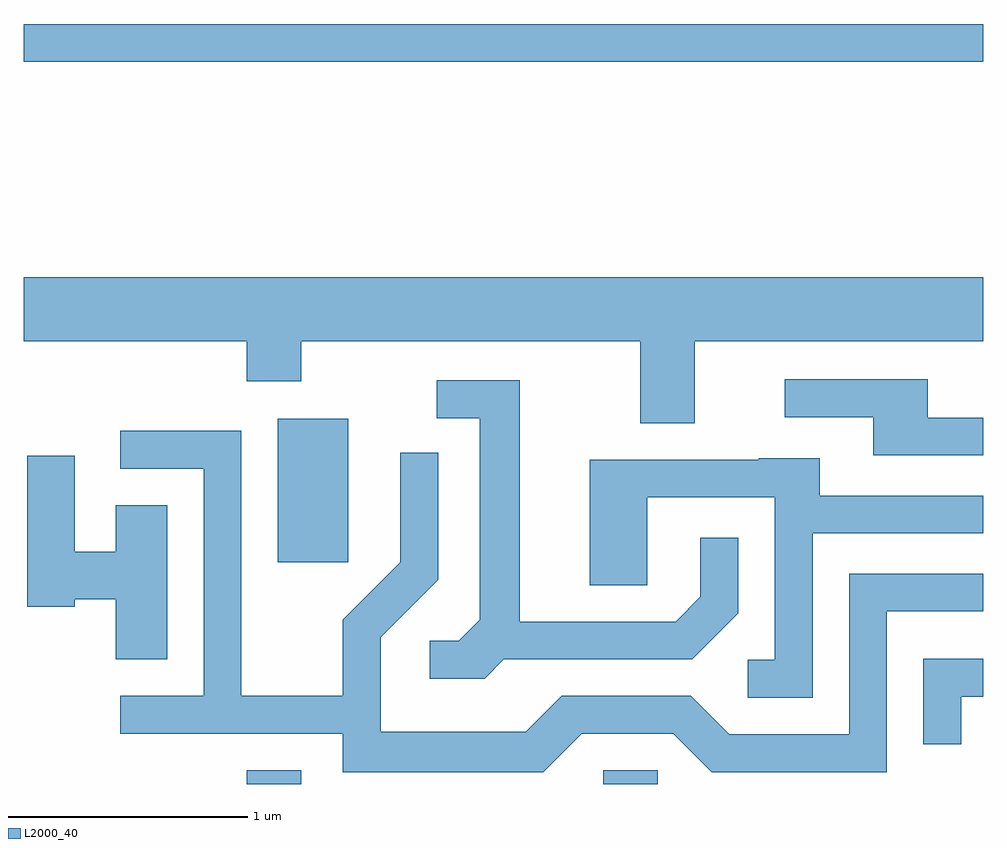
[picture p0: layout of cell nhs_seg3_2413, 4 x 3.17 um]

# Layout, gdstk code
import gdstk
lib = gdstk.Library(unit=1e-6, precision=1e-09)
def R(c, l, rs):  # rectangles x0, y0, x1, y1
    for r in rs: c.add(gdstk.rectangle(r[:2], r[2:], *l))
def P(c, l, *ps):  # polygons
    for p in ps: c.add(gdstk.Polygon(p, *l))
L2000_40 = (2000, 40)

nhs_seg3_2413 = lib.new_cell('nhs_seg3_2413')
R(nhs_seg3_2413, L2000_40, [(256.541,1181.892,256.769,1181.949), (258.026,1181.892,258.254,1181.949), (256.671,1182.816,256.964,1183.414), (255.611,1184.901,259.611,1185.059)])
P(nhs_seg3_2413, L2000_40, [(258.409,1183.736),(259.611,1183.736),(259.611,1184.004),(255.611,1184.004),(255.611,1183.736),(256.541,1183.736),(256.541,1183.571),(256.769,1183.571),(256.769,1183.736),(258.181,1183.736),(258.181,1183.396),(258.409,1183.396)],
  [(259.611,1183.419),(259.379,1183.419),(259.379,1183.579),(258.783,1183.579),(258.783,1183.421),(259.151,1183.421),(259.151,1183.261),(259.611,1183.261)],
  [(257.611,1182.411),(258.397,1182.411),(258.589,1182.604),(258.589,1182.918),(258.431,1182.918),(258.431,1182.672),(258.329,1182.569),(257.679,1182.569),(257.679,1183.574),(257.332,1183.574),(257.332,1183.416),(257.511,1183.416),(257.511,1182.577),(257.424,1182.489),(257.303,1182.489),(257.303,1182.331),(257.532,1182.331)],
  [(257.937,1182.101),(258.319,1182.101),(258.479,1181.941),(259.209,1181.941),(259.209,1182.611),(259.611,1182.611),(259.611,1182.769),(259.051,1182.769),(259.051,1182.099),(258.552,1182.099),(258.392,1182.259),(257.854,1182.259),(257.704,1182.109),(257.099,1182.109),(257.099,1182.504),(257.339,1182.744),(257.339,1183.273),(257.181,1183.273),(257.181,1182.817),(256.941,1182.577),(256.941,1182.259),(256.519,1182.259),(256.519,1183.364),(256.013,1183.364),(256.013,1183.206),(256.361,1183.206),(256.361,1182.259),(256.013,1182.259),(256.013,1182.101),(256.941,1182.101),(256.941,1181.941),(257.777,1181.941)],
  [(256.209,1183.054),(255.996,1183.054),(255.996,1182.859),(255.824,1182.859),(255.824,1183.259),(255.626,1183.259),(255.626,1182.631),(255.824,1182.631),(255.824,1182.661),(255.996,1182.661),(255.996,1182.411),(256.209,1182.411)],
  [(258.899,1182.936),(259.611,1182.936),(259.611,1183.094),(258.929,1183.094),(258.929,1183.249),(258.675,1183.249),(258.675,1183.244),(257.971,1183.244),(257.971,1182.721),(258.209,1182.721),(258.209,1183.086),(258.741,1183.086),(258.741,1182.409),(258.628,1182.409),(258.628,1182.251),(258.899,1182.251)],
  [(259.519,1182.256),(259.611,1182.256),(259.611,1182.414),(259.361,1182.414),(259.361,1182.058),(259.519,1182.058)])

lib.write_gds('nhs_seg3_2413.gds')
